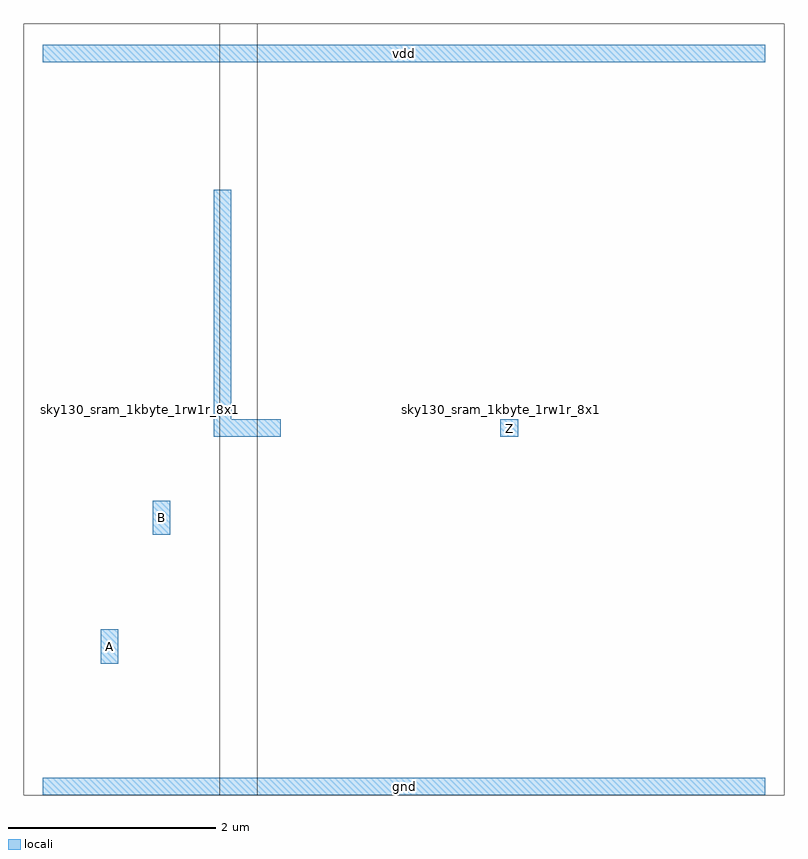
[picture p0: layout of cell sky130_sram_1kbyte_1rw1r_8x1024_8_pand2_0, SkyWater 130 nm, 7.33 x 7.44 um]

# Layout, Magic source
magic
tech sky130A
magscale 1 2
<< locali >>
rect 0 1397 1394 1431
rect 330 708 364 1151
rect 330 674 459 708
rect 883 674 917 708
rect 212 485 246 551
rect 112 237 146 303
rect 0 -17 1394 17
use sky130_sram_1kbyte_1rw1r_8x1024_8_pdriver_1  sky130_sram_1kbyte_1rw1r_8x1024_8_pdriver_1_0
transform 1 0 378 0 1 0
box -36 -17 1052 1471
use sky130_sram_1kbyte_1rw1r_8x1024_8_pnand2_0  sky130_sram_1kbyte_1rw1r_8x1024_8_pnand2_0_0
transform 1 0 0 0 1 0
box -36 -17 414 1471
<< labels >>
rlabel locali s 900 691 900 691 4 Z
port 1 nsew
rlabel locali s 129 270 129 270 4 A
port 2 nsew
rlabel locali s 229 518 229 518 4 B
port 3 nsew
rlabel locali s 697 0 697 0 4 gnd
port 4 nsew
rlabel locali s 697 1414 697 1414 4 vdd
port 5 nsew
<< properties >>
string FIXED_BBOX 0 0 1394 1414
string GDS_FILE $PDKPATH/libs.ref/sky130_sram_macros/gds/sky130_sram_1kbyte_1rw1r_8x1024_8.gds
string GDS_END 6093902
string GDS_START 6092760
<< end >>
